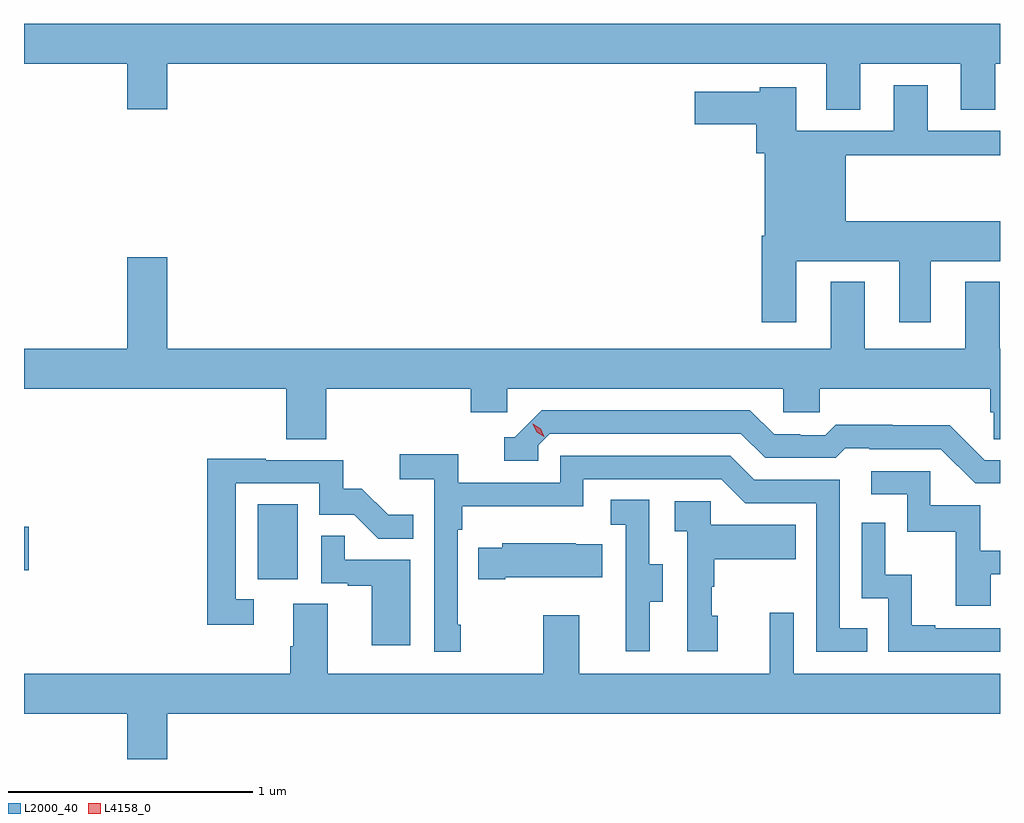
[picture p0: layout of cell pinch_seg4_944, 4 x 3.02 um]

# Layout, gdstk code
import gdstk
lib = gdstk.Library(unit=1e-6, precision=1e-09)
def R(c, l, rs):  # rectangles x0, y0, x1, y1
    for r in rs: c.add(gdstk.rectangle(r[:2], r[2:], *l))
def P(c, l, *ps):  # polygons
    for p in ps: c.add(gdstk.Polygon(p, *l))
L2000_40 = (2000, 40)
L4158_0 = (4158, 0)

pinch_seg4_944 = lib.new_cell('pinch_seg4_944')
R(pinch_seg4_944, L2000_40, [(812.894,769.398,813.058,769.705), (811.937,769.435,811.957,769.613)])
P(pinch_seg4_944, L2000_40, [(815.365,771.512),(815.777,771.512),(815.777,771.322),(815.917,771.322),(815.917,771.512),(815.937,771.512),(815.937,771.676),(811.937,771.676),(811.937,771.512),(812.36,771.512),(812.36,771.324),(812.524,771.324),(812.524,771.512),(815.225,771.512),(815.225,771.322),(815.365,771.322)],
  [(815.101,770.702),(815.525,770.702),(815.525,770.451),(815.653,770.451),(815.653,770.702),(815.937,770.702),(815.937,770.866),(815.305,770.866),(815.305,771.136),(815.937,771.136),(815.937,771.237),(815.641,771.237),(815.641,771.424),(815.501,771.424),(815.501,771.237),(815.101,771.237),(815.101,771.415),(814.953,771.415),(814.953,771.397),(814.686,771.397),(814.686,771.263),(814.937,771.263),(814.937,771.144),(814.973,771.144),(814.973,770.806),(814.961,770.806),(814.961,770.451),(815.101,770.451)],
  [(812.524,770.719),(812.36,770.719),(812.36,770.344),(811.937,770.344),(811.937,770.18),(813.011,770.18),(813.011,769.972),(813.176,769.972),(813.176,770.18),(813.767,770.18),(813.767,770.082),(813.918,770.082),(813.918,770.18),(815.049,770.18),(815.049,770.082),(815.199,770.082),(815.199,770.18),(815.897,770.18),(815.897,770.082),(815.911,770.082),(815.911,769.972),(815.937,769.972),(815.937,770.344),(815.935,770.344),(815.935,770.617),(815.795,770.617),(815.795,770.344),(815.383,770.344),(815.383,770.617),(815.243,770.617),(815.243,770.344),(812.524,770.344)],
  [(815.937,769.887),(815.874,769.887),(815.732,770.029),(815.496,770.029),(815.496,770.032),(815.263,770.032),(815.221,769.989),(815.118,769.989),(815.118,769.992),(815.011,769.992),(814.912,770.091),(814.059,770.091),(813.948,769.98),(813.905,769.98),(813.905,769.884),(814.044,769.884),(814.044,769.947),(814.092,769.995),(814.875,769.995),(814.974,769.896),(815.263,769.896),(815.302,769.935),(815.401,769.935),(815.401,769.932),(815.694,769.932),(815.835,769.791),(815.937,769.791)],
  [(813.727,769.213),(813.714,769.213),(813.714,769.601),(813.734,769.601),(813.734,769.697),(814.23,769.697),(814.23,769.809),(814.794,769.809),(814.893,769.71),(815.184,769.71),(815.184,769.101),(815.393,769.101),(815.393,769.197),(815.28,769.197),(815.28,769.806),(814.93,769.806),(814.831,769.905),(814.134,769.905),(814.134,769.794),(813.716,769.794),(813.716,769.91),(813.477,769.91),(813.477,769.808),(813.618,769.808),(813.618,769.101),(813.727,769.101)],
  [(812.878,769.317),(812.805,769.317),(812.805,769.791),(813.147,769.791),(813.147,769.662),(813.291,769.662),(813.389,769.564),(813.533,769.564),(813.533,769.663),(813.429,769.663),(813.322,769.77),(813.246,769.77),(813.246,769.887),(812.927,769.887),(812.927,769.892),(812.689,769.892),(812.689,769.212),(812.878,769.212)],
  [(815.899,769.419),(815.937,769.419),(815.937,769.515),(815.857,769.515),(815.857,769.701),(815.652,769.701),(815.652,769.842),(815.409,769.842),(815.409,769.746),(815.556,769.746),(815.556,769.593),(815.755,769.593),(815.755,769.29),(815.899,769.29)],
  [(814.501,769.306),(814.555,769.306),(814.555,769.461),(814.5,769.461),(814.5,769.724),(814.341,769.724),(814.341,769.621),(814.404,769.621),(814.404,769.317),(814.403,769.317),(814.403,769.104),(814.501,769.104)],
  [(814.78,769.248),(814.755,769.248),(814.755,769.367),(814.765,769.367),(814.765,769.481),(815.099,769.481),(815.099,769.621),(814.752,769.621),(814.752,769.719),(814.605,769.719),(814.605,769.595),(814.656,769.595),(814.656,769.104),(814.78,769.104)],
  [(815.937,769.197),(815.671,769.197),(815.671,769.21),(815.576,769.21),(815.576,769.418),(815.466,769.418),(815.466,769.63),(815.37,769.63),(815.37,769.32),(815.478,769.32),(815.478,769.101),(815.937,769.101)],
  [(813.52,769.479),(813.251,769.479),(813.251,769.577),(813.156,769.577),(813.156,769.383),(813.263,769.383),(813.263,769.371),(813.362,769.371),(813.362,769.128),(813.52,769.128)],
  [(813.91,769.406),(814.307,769.406),(814.307,769.543),(814.199,769.543),(814.199,769.546),(813.897,769.546),(813.897,769.528),(813.799,769.528),(813.799,769.399),(813.91,769.399)],
  [(812.524,768.848),(815.937,768.848),(815.937,769.012),(815.091,769.012),(815.091,769.261),(814.994,769.261),(814.994,769.012),(814.213,769.012),(814.213,769.252),(814.066,769.252),(814.066,769.012),(813.181,769.012),(813.181,769.298),(813.041,769.298),(813.041,769.124),(813.029,769.124),(813.029,769.012),(811.937,769.012),(811.937,768.848),(812.36,768.848),(812.36,768.66),(812.524,768.66)])
P(pinch_seg4_944, L4158_0, [(814.07,769.983),(814.039,770.002),(814.023,770.035),(814.023,770.035),(814.023,770.035),(814.054,770.016),(814.07,769.983),(814.07,769.983)])

lib.write_gds('pinch_seg4_944.gds')
